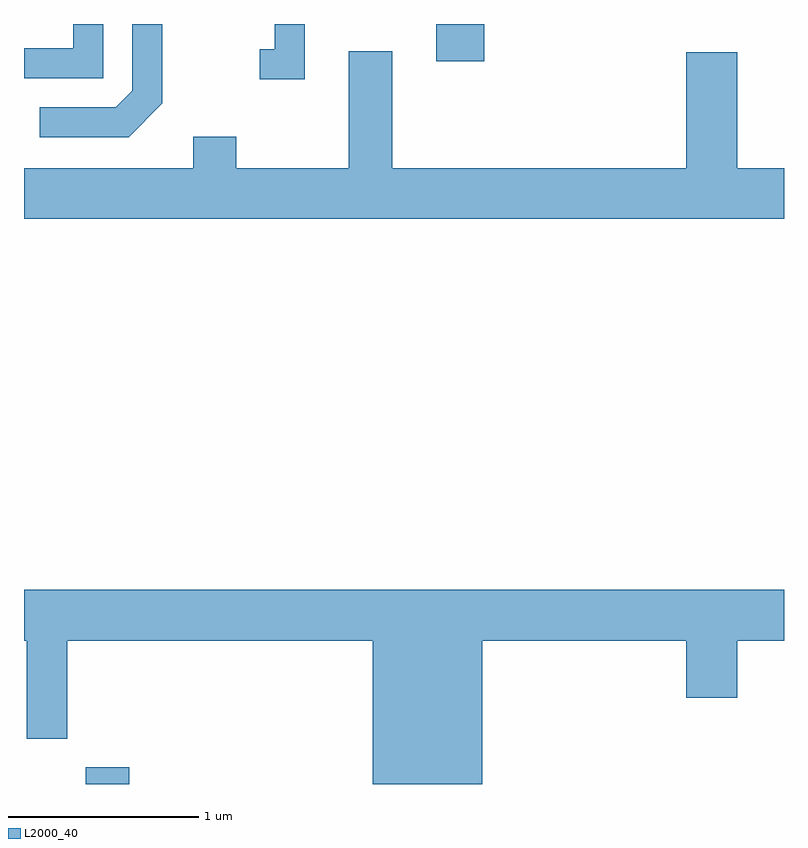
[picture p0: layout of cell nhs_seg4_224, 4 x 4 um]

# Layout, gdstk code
import gdstk
lib = gdstk.Library(unit=1e-6, precision=1e-09)
def R(c, l, rs):  # rectangles x0, y0, x1, y1
    for r in rs: c.add(gdstk.rectangle(r[:2], r[2:], *l))
def P(c, l, *ps):  # polygons
    for p in ps: c.add(gdstk.Polygon(p, *l))
L2000_40 = (2000, 40)

nhs_seg4_224 = lib.new_cell('nhs_seg4_224')
R(nhs_seg4_224, L2000_40, [(191.936,1293.982,192.164,1294.069), (193.781,1297.786,194.034,1297.982)])
P(nhs_seg4_224, L2000_40, [(192.339,1297.564),(192.339,1297.982),(192.181,1297.982),(192.181,1297.632),(192.094,1297.544),(191.693,1297.544),(191.693,1297.386),(192.162,1297.386)],
  [(193.089,1297.982),(192.931,1297.982),(192.931,1297.849),(192.853,1297.849),(192.853,1297.691),(193.089,1297.691)],
  [(192.029,1297.982),(191.871,1297.982),(191.871,1297.854),(191.611,1297.854),(191.611,1297.696),(192.029,1297.696)],
  [(195.611,1297.224),(195.364,1297.224),(195.364,1297.834),(195.096,1297.834),(195.096,1297.224),(193.549,1297.224),(193.549,1297.839),(193.321,1297.839),(193.321,1297.224),(192.729,1297.224),(192.729,1297.389),(192.501,1297.389),(192.501,1297.224),(191.611,1297.224),(191.611,1296.956),(195.611,1296.956)],
  [(194.024,1294.736),(195.096,1294.736),(195.096,1294.436),(195.364,1294.436),(195.364,1294.736),(195.611,1294.736),(195.611,1295.004),(191.611,1295.004),(191.611,1294.736),(191.626,1294.736),(191.626,1294.221),(191.839,1294.221),(191.839,1294.736),(193.446,1294.736),(193.446,1293.982),(194.024,1293.982)])

lib.write_gds('nhs_seg4_224.gds')
